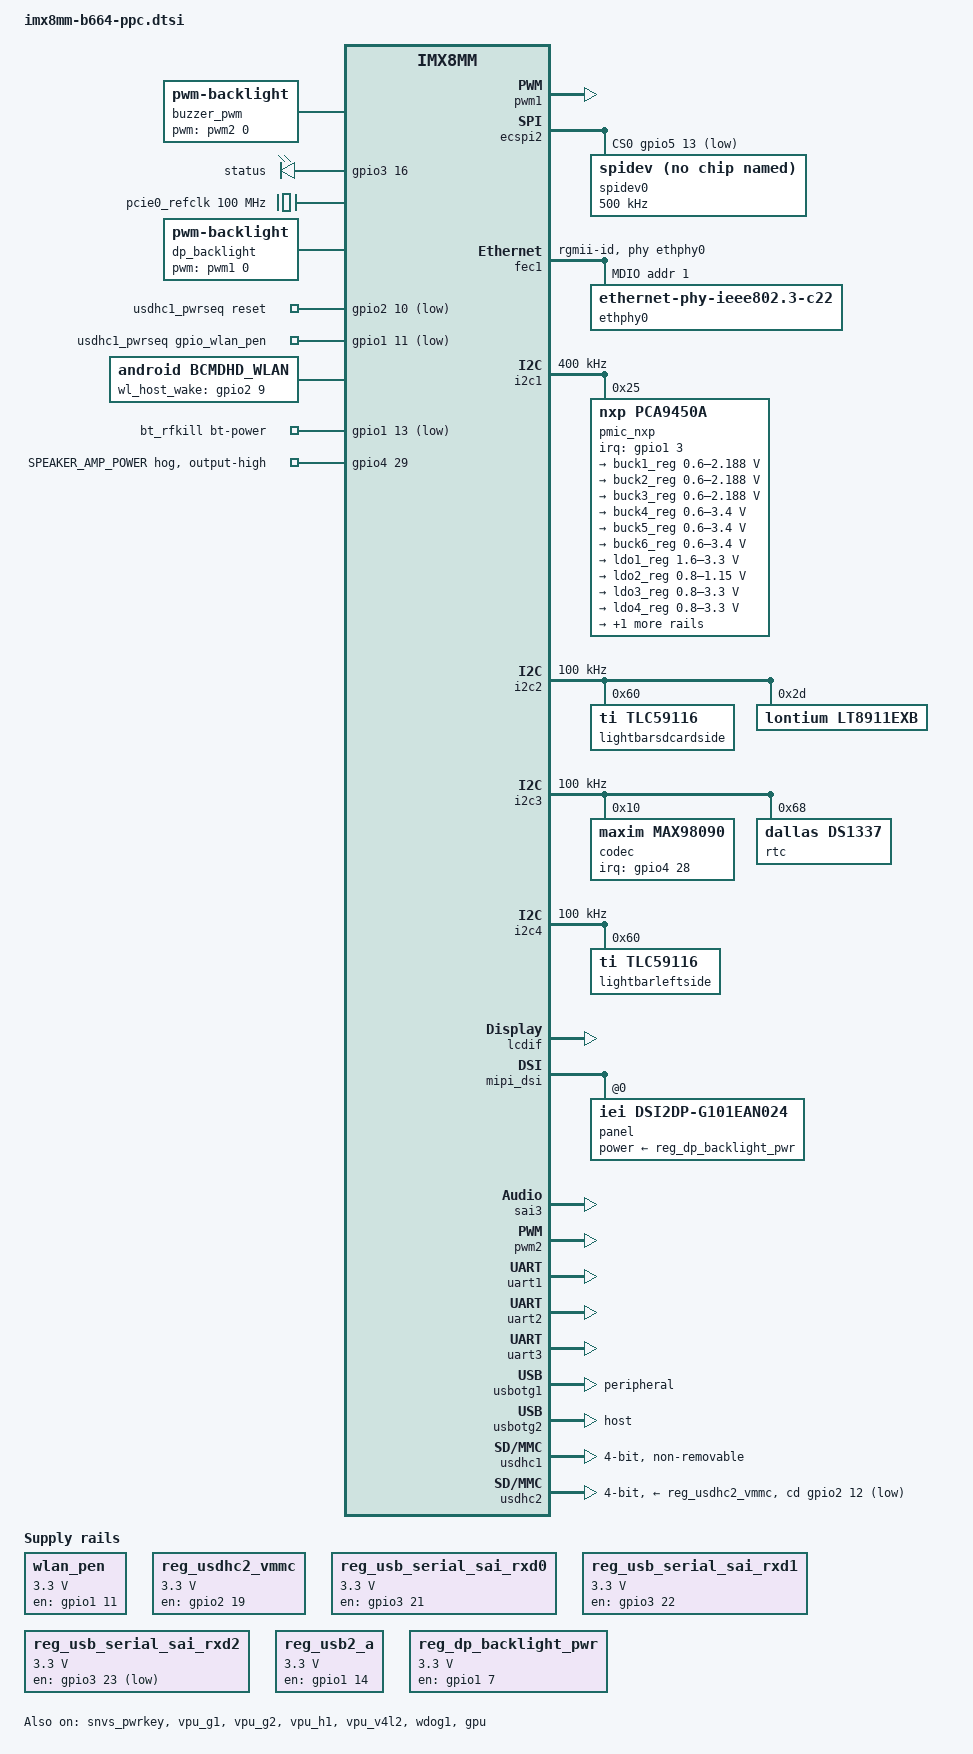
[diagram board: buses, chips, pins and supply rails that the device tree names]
// SPDX-License-Identifier: (GPL-2.0+ OR MIT)
/*
 * Copyright 2020 NXP
 */

/dts-v1/;

#include <dt-bindings/usb/pd.h>
#include "imx8mm.dtsi"

/ {
	buzzer_pwm: buzzer_pwm {
		compatible = "pwm-backlight";
		pwms = <&pwm2 0 100000>;
		status = "okay";

		brightness-levels = < 0  1  2  3  4  5  6  7  8  9
			10 11 12 13 14 15 16 17 18 19
			20 21 22 23 24 25 26 27 28 29
			30 31 32 33 34 35 36 37 38 39
			40 41 42 43 44 45 46 47 48 49
			50 51 52 53 54 55 56 57 58 59
			60 61 62 63 64 65 66 67 68 69
			70 71 72 73 74 75 76 77 78 79
			80 81 82 83 84 85 86 87 88 89
			90 91 92 93 94 95 96 97 98 99
		100>;
		default-brightness-level = <0>;
	};

	chosen {
		stdout-path = &uart2;
	};

	leds {
		compatible = "gpio-leds";
		pinctrl-names = "default";
		pinctrl-0 = <&pinctrl_gpio_led>;

		status {
			label = "status";
			gpios = <&gpio3 16 GPIO_ACTIVE_HIGH>;
			default-state = "on";
		};
	};

	pcie0_refclk: pcie0-refclk {
		compatible = "fixed-clock";
		#clock-cells = <0>;
		clock-frequency = <100000000>;
	};

	wlan_pen: wlan_pen {
		compatible = "regulator-fixed";
		pinctrl-names = "default";
		pinctrl-0 = <&pinctrl_wlan_pen>;
		regulator-name = "WLAN_PEN";
		regulator-min-microvolt = <3300000>;
		regulator-max-microvolt = <3300000>;
		gpio = <&gpio1 11 GPIO_ACTIVE_LOW>;
		off-on-delay = <20000>;
		startup-delay-us = <100>;
		enable-active-high;
	};

	reg_usdhc2_vmmc: regulator-usdhc2 {
		compatible = "regulator-fixed";
		pinctrl-names = "default";
		pinctrl-0 = <&pinctrl_reg_usdhc2_vmmc>;
		regulator-name = "VSD_3V3";
		regulator-min-microvolt = <3300000>;
		regulator-max-microvolt = <3300000>;
		gpio = <&gpio2 19 GPIO_ACTIVE_HIGH>;
		enable-active-high;
	};

	reg_usb_serial_sai_rxd0: usb_serial_sai_rxd0 {
		compatible = "regulator-fixed";
		pinctrl-names = "default";
		pinctrl-0 = <&pinctrl_usb_serial_sai_rxd0>;
		regulator-name = "VSD_3V3";
		regulator-min-microvolt = <3300000>;
		regulator-max-microvolt = <3300000>;
		gpio = <&gpio3 21 GPIO_ACTIVE_HIGH>;
		enable-active-high;
	};

	reg_usb_serial_sai_rxd1: usb_serial_sai_rxd1 {
		compatible = "regulator-fixed";
		pinctrl-names = "default";
		pinctrl-0 = <&pinctrl_usb_serial_sai_rxd1>;
		regulator-name = "VSD_3V3";
		regulator-min-microvolt = <3300000>;
		regulator-max-microvolt = <3300000>;
		gpio = <&gpio3 22 GPIO_ACTIVE_HIGH>;
		enable-active-high;
	};

	reg_usb_serial_sai_rxd2: usb_serial_sai_rxd2 {
		compatible = "regulator-fixed";
		pinctrl-names = "default";
		pinctrl-0 = <&pinctrl_usb_serial_sai_rxd2>;
		regulator-name = "VSD_3V3";
		regulator-min-microvolt = <3300000>;
		regulator-max-microvolt = <3300000>;
		gpio = <&gpio3 23 GPIO_ACTIVE_HIGH>;
		
	};

       reg_usb2_a: regulator_usb2_a {
		compatible = "regulator-fixed";
		pinctrl-names = "default";
		pinctrl-0 = <&pinctrl_usb2_a>;
		regulator-name = "USB2_A";
		regulator-min-microvolt = <3300000>;
		regulator-max-microvolt = <3300000>;
		gpio = <&gpio1 14 GPIO_ACTIVE_HIGH>;
		//off-on-delay-us = <20000>;
		enable-active-high;
	};

	reg_dp_backlight_pwr: regulator_dpblpwr {
		pinctrl-names = "default";
		pinctrl-0 = <&pinctrl_dp_backlight_pwr>;
		compatible = "regulator-fixed";
		regulator-name = "dp_bl_en";
		regulator-min-microvolt = <3300000>;
		regulator-max-microvolt = <3300000>;
		gpio = <&gpio1 7 GPIO_ACTIVE_HIGH>;
		enable-active-high;
		regulator-always-on;
	};

	dp_backlight: dp_backlight {
		compatible = "pwm-backlight";
		pwms = <&pwm1 0 100000>;
		status = "okay";

		brightness-levels = < 0  1  2  3  4  5  6  7  8  9
			10 11 12 13 14 15 16 17 18 19
			20 21 22 23 24 25 26 27 28 29
			30 31 32 33 34 35 36 37 38 39
			40 41 42 43 44 45 46 47 48 49
			50 51 52 53 54 55 56 57 58 59
			60 61 62 63 64 65 66 67 68 69
			70 71 72 73 74 75 76 77 78 79
			80 81 82 83 84 85 86 87 88 89
			90 91 92 93 94 95 96 97 98 99
		100>;
		default-brightness-level = <80>;
	};


	usdhc1_pwrseq: usdhc1_pwrseq {
		compatible = "mmc-pwrseq-simple";
		reset-gpios = <&gpio2 10 GPIO_ACTIVE_LOW>;
		gpio_wlan_pen = <&gpio1 11 GPIO_ACTIVE_LOW>;
		status = "okay";
	};

	bcmdhd: bcmdhd {
		status = "okay";
		compatible = "android,bcmdhd_wlan";
		gpio_wl_host_wake = <&gpio2 9 GPIO_ACTIVE_HIGH>;
		pinctrl-names = "default";
		pinctrl-0 = <&pinctrl_wlan_irq>;
	};

	sound-max98090 {
		compatible = "fsl,imx-audio-max98090";
		model = "max98090-audio";
		audio-cpu = <&sai3>;
		audio-codec = <&codec>;
		audio-routing =
			"Headphone Jack", "HPL",
			"Headphone Jack", "HPR",
			"Ext Spk", "SPKL",
			"Ext Spk", "SPKR",
			"AMIC", "MICBIAS",
			"IN5", "AMIC";

		status = "okay";
	};

	bt_rfkill {
		compatible = "fsl,mxc_bt_rfkill";
		pinctrl-0 = <&pinctrl_uart1_btctrl>;
		bt-power-gpios = <&gpio1 13 GPIO_ACTIVE_LOW>;
		reset-delay-us = <100>;
		reset-post-delay-ms = <150>;
		status ="okay";
	};
};

&A53_0 {
	cpu-supply = <&buck2_reg>;
};

&A53_1 {
	cpu-supply = <&buck2_reg>;
};

&A53_2 {
	cpu-supply = <&buck2_reg>;
};

&A53_3 {
	cpu-supply = <&buck2_reg>;
};

&pwm1 {
	pinctrl-names = "default";
	pinctrl-0 = <&pinctrl_pwm1_dp>;
	status = "okay";
};

&ecspi2 {
	#address-cells = <1>;
	#size-cells = <0>;
	fsl,spi-num-chipselects = <1>;
	pinctrl-names = "default";
	pinctrl-0 = <&pinctrl_ecspi2 &pinctrl_ecspi2_cs>;
	cs-gpios = <&gpio5 13 GPIO_ACTIVE_LOW>;
	status = "okay";

	spidev0: spi@0 {
		reg = <0>;
		compatible = "rohm,dh2228fv";
		spi-max-frequency = <500000>;
	};
};

&fec1 {
	pinctrl-names = "default";
	pinctrl-0 = <&pinctrl_fec1>;
	phy-mode = "rgmii-id";
	phy-handle = <&ethphy0>;
	fsl,magic-packet;
	status = "okay";

	mdio {
		#address-cells = <1>;
		#size-cells = <0>;

		ethphy0: ethernet-phy@1 {
			compatible = "ethernet-phy-ieee802.3-c22";
			reg = <1>;
		};
	};
};

&i2c1 {
	clock-frequency = <400000>;
	pinctrl-names = "default";
	pinctrl-0 = <&pinctrl_i2c1>;
	status = "okay";

	pmic_nxp: pca9450@25 {
		compatible = "nxp,pca9450a";
		reg = <0x25>;
		pinctrl-0 = <&pinctrl_pmic>;
		pinctrl-names = "default";
		interrupt-parent = <&gpio1>;
		interrupts = <3 IRQ_TYPE_LEVEL_LOW>;

		regulators {
			buck1_reg: BUCK1 {
				regulator-name = "BUCK1";
				regulator-min-microvolt = <600000>;
				regulator-max-microvolt = <2187500>;
				regulator-boot-on;
				regulator-always-on;
				regulator-ramp-delay = <3125>;
				nxp,dvs-run-voltage = <850000>;
				nxp,dvs-standby-voltage = <800000>;
			};

			buck2_reg: BUCK2 {
				regulator-name = "BUCK2";
				regulator-min-microvolt = <600000>;
				regulator-max-microvolt = <2187500>;
				regulator-boot-on;
				regulator-always-on;
				regulator-ramp-delay = <3125>;
			};

			buck3_reg: BUCK3 {
				regulator-name = "BUCK3";
				regulator-min-microvolt = <600000>;
				regulator-max-microvolt = <2187500>;
				regulator-boot-on;
				regulator-always-on;
			};

			buck4_reg: BUCK4 {
				regulator-name = "BUCK4";
				regulator-min-microvolt = <600000>;
				regulator-max-microvolt = <3400000>;
				regulator-boot-on;
				regulator-always-on;
			};

			buck5_reg: BUCK5 {
				regulator-name = "BUCK5";
				regulator-min-microvolt = <600000>;
				regulator-max-microvolt = <3400000>;
				regulator-boot-on;
				regulator-always-on;
			};

			buck6_reg: BUCK6 {
				regulator-name = "BUCK6";
				regulator-min-microvolt = <600000>;
				regulator-max-microvolt = <3400000>;
				regulator-boot-on;
				regulator-always-on;
			};

			ldo1_reg: LDO1 {
				regulator-name = "LDO1";
				regulator-min-microvolt = <1600000>;
				regulator-max-microvolt = <3300000>;
				regulator-boot-on;
				regulator-always-on;
			};

			ldo2_reg: LDO2 {
				regulator-name = "LDO2";
				regulator-min-microvolt = <800000>;
				regulator-max-microvolt = <1150000>;
				regulator-boot-on;
				regulator-always-on;
			};

			ldo3_reg: LDO3 {
				regulator-name = "LDO3";
				regulator-min-microvolt = <800000>;
				regulator-max-microvolt = <3300000>;
				regulator-boot-on;
				regulator-always-on;
			};

			ldo4_reg: LDO4 {
				regulator-name = "LDO4";
				regulator-min-microvolt = <800000>;
				regulator-max-microvolt = <3300000>;
				regulator-boot-on;
				regulator-always-on;
			};

			ldo5_reg: LDO5 {
				regulator-name = "LDO5";
				regulator-min-microvolt = <1800000>;
				regulator-max-microvolt = <3300000>;
			};
		};
	};
};

&gpio4 {
	pinctrl-0 = <&pinctrl_gpio4>;

	speaker_amplifier {
		gpio-hog;
		gpios = <29 GPIO_ACTIVE_HIGH>;
		line-name = "SPEAKER_AMP_POWER";
		output-high;
	};
};

&i2c2 {
	clock-frequency = <100000>;
	pinctrl-names = "default";
	pinctrl-0 = <&pinctrl_i2c2>;
	status = "okay";

	lightbarsdcardside: tlc59116_left@60 {
		#address-cells = <1>;
		#size-cells = <0>;
		compatible = "ti,tlc59116";
		reg = <0x60>;
		status = "okay";
		out0@0 {
			label = "i2c2_led_red_00";
			reg = <0x0>;
		};

		out1@1 {
			label = "i2c2_led_green_00";
			reg = <0x1>;
		};
	
		out2@2 {
			label = "i2c2_led_blue_00";
			reg = <0x2>;
		};

		out3@3 {
			label = "i2c2_led_red_01";
			reg = <0x3>;
		};

		out4@4{
			label = "i2c2_led_green_01";
			reg = <0x4>;
		};

		out5@5 {
			label = "i2c2_led_blue_01";
			reg = <0x5>;
		};

		out6@6 {
			label = "i2c2_led_red_02";
			reg = <0x6>;
		};

		out7@7 {
			label = "i2c2_led_green_02";
			reg = <0x7>;
		};

	       out8@8 {
			label = "i2c2_led_blue_02";
			reg = <0x8>;
		};

		out9@9 {
			label = "i2c2_led_red_03";
			reg = <0x9>;
		};

		out10@a {
			label = "i2c2_led_green_03";
			reg = <0xa>;
		};

		out11@b {
			label = "i2c2_led_blue_03";
			reg = <0xb>;
		};

		out12@c {
			label = "i2c2_led_red_04";
			reg = <0xc>;
		};

		out13@d {
			label = "i2c2_led_green_04";
			reg = <0xd>;
		};

		out14@e {
			label = "i2c2_led_blue_04";
			reg = <0xe>;
		};
	};

	lt8911exb@2d {
		compatible = "lontium,lt8911exb";
		reg = <0x2d>;

		lontium,pclk = <75000000>;
		lontium,hact = <1280>;
		lontium,vact = <800>;
		lontium,hbp = <40>;
		lontium,hfp = <40>;
		lontium,vbp = <10>;
		lontium,vfp = <3>;
		lontium,hs = <80>;
		lontium,vs = <10>;

		lontium,mipi_lane = <4>;
		lontium,lane_cnt = <1>;
		lontium,color = <1>; //Color Depth 0:6bit 1:8bit
		lontium,test = <0>;

		status = "okay";
	};

	
};

&i2c3 {
	clock-frequency = <100000>;
	pinctrl-names = "default";
	pinctrl-0 = <&pinctrl_i2c3>;
	status = "okay";

	codec: max98090@10 {
		status = "okay";
		compatible = "maxim,max98090";
		reg = <0x10>;
                clocks = <&clk IMX8MM_CLK_SAI3_ROOT>;
                clock-names = "xclk";
		/* 1 = low-to-high edge triggered,  2 = high-to-low edge triggered
		   4 = active high level-sensitive, 8 = active low level-sensitive */
		interrupt-parent = <&gpio4>;
		interrupts = <28 IRQ_TYPE_LEVEL_LOW>;
		maxim,dmic-freq = <3072000>;
	};

	rtc: rtc@68 {
		compatible = "dallas,ds1337";
		reg = <0x68>;
	};
};

&i2c4 {
	clock-frequency = <100000>;
	pinctrl-names = "default";
	pinctrl-0 = <&pinctrl_i2c4>;
	status = "okay";

	lightbarleftside: tlc59116@60 {
		#address-cells = <1>;
		#size-cells = <0>;
		compatible = "ti,tlc59116";
		reg = <0x60>;
		status = "okay";
		out0@0 {
			label = "i2c4_led_red_00";
			reg = <0x0>;
		};

		out1@1 {
			label = "i2c4_led_green_00";
			reg = <0x1>;
		};
	
		out2@2 {
			label = "i2c4_led_blue_00";
			reg = <0x2>;
		};

		out3@3 {
			label = "i2c4_led_red_01";
			reg = <0x3>;
		};

		out4@4{
			label = "i2c4_led_green_01";
			reg = <0x4>;
		};

		out5@5 {
			label = "i2c4_led_blue_01";
			reg = <0x5>;
		};

		out6@6 {
			label = "i2c4_led_red_02";
			reg = <0x6>;
		};

		out7@7 {
			label = "i2c4_led_green_02";
			reg = <0x7>;
		};

	       out8@8 {
			label = "i2c4_led_blue_02";
			reg = <0x8>;
		};

		out9@9 {
			label = "i2c4_led_red_03";
			reg = <0x9>;
		};

		out10@a {
			label = "i2c4_led_green_03";
			reg = <0xa>;
		};

		out11@b {
			label = "i2c4_led_blue_03";
			reg = <0xb>;
		};

		out12@c {
			label = "i2c4_led_red_04";
			reg = <0xc>;
		};

		out13@d {
			label = "i2c4_led_green_04";
			reg = <0xd>;
		};

		out14@e {
			label = "i2c4_led_blue_04";
			reg = <0xe>;
		};
	};
};

&lcdif {
	status = "okay";
};

&mipi_dsi {
	status = "okay";
	#address-cells = <1>;
	#size-cells = <0>;

	panel@0 {
		reg = <0>;
		compatible = "iei,dsi2dp-g101ean024";
		power-supply = <&reg_dp_backlight_pwr>;

		dsi,flags = <0x0007>;
		dsi,format = <0>;
		dsi,lanes = <4>;
		panel-width-mm  = <217>;
		panel-height-mm = <135>;
		bus-format = <0x100a>;  /* MEDIA_BUS_FMT_RGB888_1X24 */
		bus-flags = <1>;
		refresh-rate = <60>;
		rotate = <0>;

		panel-timing {
			clock-frequency = <77000000>;
			hactive = <1280>;
			vactive = <800>;
			hfront-porch = <40>;
			hsync-len = <80>;
			hback-porch = <40>;
			vfront-porch = <3>;
			vsync-len = <10>;
			vback-porch = <10>;
			/* flags = DISPLAY_FLAGS_HSYNC_HIGH | DISPLAY_FLAGS_VSYNC_HIGH */
			vsync-active = <1>;
			hsync-active = <1>;
		};
	};
};

&pcie0{
	status = "disabled";
};

&pcie0_ep{
	status = "disabled";
};

&sai3 {
        pinctrl-names = "default";
        pinctrl-0 = <&pinctrl_sai3>;
        assigned-clocks = <&clk IMX8MM_CLK_SAI3>;
        assigned-clock-parents = <&clk IMX8MM_AUDIO_PLL1_OUT>;
        assigned-clock-rates = <12288000>;
        fsl,sai-mclk-direction-output;
        status = "okay";
};

&snvs_pwrkey {
	status = "okay";
};



&pwm2 {
	pinctrl-names = "default";
	pinctrl-0 = <&pinctrl_pwm_buzzer>;
	status = "okay";
};

&uart1 { /* BT */
	pinctrl-names = "default";
	pinctrl-0 = <&pinctrl_uart1>;
	assigned-clocks = <&clk IMX8MM_CLK_UART1>;
	assigned-clock-parents = <&clk IMX8MM_SYS_PLL1_80M>;
	fsl,uart-has-rtscts;
	status = "okay";
};

&uart2 { /* console */
	pinctrl-names = "default";
	pinctrl-0 = <&pinctrl_uart2>;
	status = "okay";
};

&uart3 {
	pinctrl-names = "default";
	pinctrl-0 = <&pinctrl_uart3>;
	assigned-clocks = <&clk IMX8MM_CLK_UART3>;
	assigned-clock-parents = <&clk IMX8MM_SYS_PLL1_80M>;
	fsl,uart-has-rtscts;
	status = "okay";
};

&usbotg1 {
	dr_mode = "peripheral";
	status = "okay";
};
/* USB Host port */
&usbotg2{
	dr_mode = "host";
	over-current-active-low;
	pinctrl-names = "default";
	pinctrl-0 = <&pinctrl_usb2_b>;
	power-active-high;
	/*
	 * FIXME: having USB2 enabled hangs the boot just after:
	 *[    1.655941] ci_hdrc ci_hdrc.1: EHCI Host Controller
	 *[    1.660880] ci_hdrc ci_hdrc.1: new USB bus registered, assigned bus number 2
	 *[    1.681505] ci_hdrc ci_hdrc.1: USB 2.0 started, EHCI 1.00
	 *[    1.687730] hub 2-0:1.0: USB hub found
	 *[    1.691528] hub 2-0:1.0: 1 port detected
	 */
	status = "okay";
};

&usdhc1 {
	assigned-clocks = <&clk IMX8MM_CLK_USDHC1>;
	assigned-clock-rates = <400000000>;
	pinctrl-names = "default", "state_100mhz", "state_200mhz";
	pinctrl-0 = <&pinctrl_usdhc1>, <&pinctrl_usdhc1_gpio>;
	pinctrl-1 = <&pinctrl_usdhc1_100mhz>, <&pinctrl_usdhc1_gpio>;
	pinctrl-2 = <&pinctrl_usdhc1_200mhz>, <&pinctrl_usdhc1_gpio>;
	bus-width = <4>;
	keep-power-in-suspend;
	non-removable;
	no-1-8-v;
	mmc-pwrseq = <&usdhc1_pwrseq>;
	status = "okay";
};

&usdhc2 {
	assigned-clocks = <&clk IMX8MM_CLK_USDHC2>;
	assigned-clock-rates = <400000000>;
	pinctrl-names = "default", "state_100mhz", "state_200mhz";
	pinctrl-0 = <&pinctrl_usdhc2>, <&pinctrl_usdhc2_gpio>;
	pinctrl-1 = <&pinctrl_usdhc2_100mhz>, <&pinctrl_usdhc2_gpio>;
	pinctrl-2 = <&pinctrl_usdhc2_200mhz>, <&pinctrl_usdhc2_gpio>;
	cd-gpios = <&gpio2 12 GPIO_ACTIVE_LOW>;
	vmmc-supply = <&reg_usdhc2_vmmc>;
	bus-width = <4>;
	status = "okay";
};

&vpu_g1 {
	status = "okay";
};

&vpu_g2 {
	status = "okay";
};

&vpu_h1 {
	status = "okay";
};

&vpu_v4l2 {
	status = "okay";
};

&wdog1 {
	pinctrl-names = "default";
	pinctrl-0 = <&pinctrl_wdog>;
	fsl,ext-reset-output;
	status = "okay";
};

&gpu {
	status = "okay";
};

&iomuxc {
	pinctrl_usb_serial_sai_rxd0:usb_serial_sai_rxd0_grp{
		fsl,pins = <
			MX8MM_IOMUXC_SAI5_RXD0_GPIO3_IO21	0x19
		>;	
	};

	pinctrl_usb_serial_sai_rxd1:usb_serial_sai_rxd1_grp{
		fsl,pins = <
			MX8MM_IOMUXC_SAI5_RXD1_GPIO3_IO22	0x19
		>;	
	};

	pinctrl_usb_serial_sai_rxd2:usb_serial_sai_rxd2_grp{
		fsl,pins = <
			MX8MM_IOMUXC_SAI5_RXD2_GPIO3_IO23	0x19
		>;	
	};

	pinctrl_usb2_a:usb2_a_grp{
	       fsl,pins = <
			MX8MM_IOMUXC_GPIO1_IO06_GPIO1_IO6		0x140
		>;	
	};

	pinctrl_usb2_b:usb2_b_grp{
	       fsl,pins = <
			MX8MM_IOMUXC_GPIO1_IO14_USB2_OTG_PWR	0x16
			MX8MM_IOMUXC_GPIO1_IO15_USB2_OTG_OC	0x15
		>;	
	};

	pinctrl_csi_rst: csi_rst_grp {
		fsl,pins = <
			MX8MM_IOMUXC_GPIO1_IO06_GPIO1_IO6		0x19
			MX8MM_IOMUXC_GPIO1_IO14_CCMSRCGPCMIX_CLKO1	0x59
		>;
	};

	pinctrl_dp_backlight_pwr: dp_bl_pwrgrp  {
		fsl,pins = <
			MX8MM_IOMUXC_GPIO1_IO07_GPIO1_IO7		0x19 // backlight power
		>;
	};

	pinctrl_pwm1_dp: pwm1_dpgrp  {
		fsl,pins = <
			MX8MM_IOMUXC_GPIO1_IO01_PWM1_OUT		0x16 // backlight pwm
		>;
	};

	pinctrl_ecspi2: ecspi2grp {
		fsl,pins = <
			MX8MM_IOMUXC_ECSPI2_SCLK_ECSPI2_SCLK		0x82
			MX8MM_IOMUXC_ECSPI2_MOSI_ECSPI2_MOSI		0x82
			MX8MM_IOMUXC_ECSPI2_MISO_ECSPI2_MISO		0x82
		>;
	};

	pinctrl_ecspi2_cs: ecspi2cs {
		fsl,pins = <
			MX8MM_IOMUXC_ECSPI2_SS0_GPIO5_IO13		0x40000
		>;
	};

	pinctrl_fec1: fec1grp {
		fsl,pins = <
			MX8MM_IOMUXC_ENET_MDC_ENET1_MDC			0x3
			MX8MM_IOMUXC_ENET_MDIO_ENET1_MDIO		0x3
			MX8MM_IOMUXC_ENET_TD3_ENET1_RGMII_TD3		0x1f
			MX8MM_IOMUXC_ENET_TD2_ENET1_RGMII_TD2		0x1f
			MX8MM_IOMUXC_ENET_TD1_ENET1_RGMII_TD1		0x1f
			MX8MM_IOMUXC_ENET_TD0_ENET1_RGMII_TD0		0x1f
			MX8MM_IOMUXC_ENET_RD3_ENET1_RGMII_RD3		0x91
			MX8MM_IOMUXC_ENET_RD2_ENET1_RGMII_RD2		0x91
			MX8MM_IOMUXC_ENET_RD1_ENET1_RGMII_RD1		0x91
			MX8MM_IOMUXC_ENET_RD0_ENET1_RGMII_RD0		0x91
			MX8MM_IOMUXC_ENET_TXC_ENET1_RGMII_TXC		0x1f
			MX8MM_IOMUXC_ENET_RXC_ENET1_RGMII_RXC		0x91
			MX8MM_IOMUXC_ENET_RX_CTL_ENET1_RGMII_RX_CTL	0x91
			MX8MM_IOMUXC_ENET_TX_CTL_ENET1_RGMII_TX_CTL	0x1f
			MX8MM_IOMUXC_SAI2_RXC_GPIO4_IO22		0x19
		>;
	};

	pinctrl_gpio4: gpio4grp {
		fsl,pins = <
			MX8MM_IOMUXC_SAI3_RXC_GPIO4_IO29	0x19
		>;
	};

	pinctrl_gpio_led: gpioledgrp {
		fsl,pins = <
			MX8MM_IOMUXC_NAND_READY_B_GPIO3_IO16	0x19
		>;
	};

	pinctrl_gpio_wlf: gpiowlfgrp {
		fsl,pins = <
			MX8MM_IOMUXC_I2C4_SDA_GPIO5_IO21	0xd6
		>;
	};

	pinctrl_i2c1: i2c1grp {
		fsl,pins = <
			MX8MM_IOMUXC_I2C1_SCL_I2C1_SCL			0x400001c3
			MX8MM_IOMUXC_I2C1_SDA_I2C1_SDA			0x400001c3
		>;
	};

	pinctrl_i2c2: i2c2grp {
		fsl,pins = <
			MX8MM_IOMUXC_I2C2_SCL_I2C2_SCL			0x400001c3
			MX8MM_IOMUXC_I2C2_SDA_I2C2_SDA			0x400001c3
		>;
	};

	pinctrl_i2c2_synaptics_dsx_io: synaptics_dsx_iogrp {
		fsl,pins = <
			MX8MM_IOMUXC_GPIO1_IO09_GPIO1_IO9               0x19    /* Touch int */
		>;
	};

	pinctrl_i2c3: i2c3grp {
		fsl,pins = <
			MX8MM_IOMUXC_I2C3_SCL_I2C3_SCL			0x400001c3
			MX8MM_IOMUXC_I2C3_SDA_I2C3_SDA			0x400001c3
		>;
	};

	pinctrl_i2c4: i2c4grp {
		fsl,pins = <
			MX8MM_IOMUXC_I2C4_SCL_I2C4_SCL			0x400001c3
			MX8MM_IOMUXC_I2C4_SDA_I2C4_SDA			0x400001c3
		>;
	};

	pinctrl_pcie0: pcie0grp {
		fsl,pins = <
			MX8MM_IOMUXC_I2C4_SCL_PCIE1_CLKREQ_B	0x61 /* open drain, pull up */
			MX8MM_IOMUXC_GPIO1_IO05_GPIO1_IO5	0x41
			MX8MM_IOMUXC_SAI2_RXFS_GPIO4_IO21	0x41
		>;
	};

	pinctrl_pmic: pmicirqgrp {
		fsl,pins = <
			MX8MM_IOMUXC_GPIO1_IO03_GPIO1_IO3		0x141
		>;
	};

	pinctrl_reg_usdhc2_vmmc: regusdhc2vmmcgrp {
		fsl,pins = <
			MX8MM_IOMUXC_SD2_RESET_B_GPIO2_IO19	0x41
		>;
	};

	pinctrl_sai1: sai1grp {
		fsl,pins = <
			MX8MM_IOMUXC_SAI1_MCLK_SAI1_MCLK	0xd6
			MX8MM_IOMUXC_SAI1_TXFS_SAI1_TX_SYNC	0xd6
			MX8MM_IOMUXC_SAI1_RXD7_SAI1_TX_SYNC	0xd6
			MX8MM_IOMUXC_SAI1_TXC_SAI1_TX_BCLK	0xd6
			MX8MM_IOMUXC_SAI1_TXD0_SAI1_TX_DATA0	0xd6
			MX8MM_IOMUXC_SAI1_TXD1_SAI1_TX_DATA1	0xd6
			MX8MM_IOMUXC_SAI1_TXD2_SAI1_TX_DATA2	0xd6
			MX8MM_IOMUXC_SAI1_TXD3_SAI1_TX_DATA3	0xd6
			MX8MM_IOMUXC_SAI1_TXD4_SAI1_TX_DATA4	0xd6
			MX8MM_IOMUXC_SAI1_TXD5_SAI1_TX_DATA5	0xd6
			MX8MM_IOMUXC_SAI1_TXD6_SAI1_TX_DATA6	0xd6
			MX8MM_IOMUXC_SAI1_TXD7_SAI1_TX_DATA7	0xd6
		>;
	};

	pinctrl_sai1_dsd: sai1grp_dsd {
		fsl,pins = <
			MX8MM_IOMUXC_SAI1_MCLK_SAI1_MCLK	0xd6
			MX8MM_IOMUXC_SAI1_TXFS_SAI1_TX_SYNC	0xd6
			MX8MM_IOMUXC_SAI1_RXD7_SAI1_TX_DATA4	0xd6
			MX8MM_IOMUXC_SAI1_TXC_SAI1_TX_BCLK	0xd6
			MX8MM_IOMUXC_SAI1_TXD0_SAI1_TX_DATA0	0xd6
			MX8MM_IOMUXC_SAI1_TXD1_SAI1_TX_DATA1	0xd6
			MX8MM_IOMUXC_SAI1_TXD2_SAI1_TX_DATA2	0xd6
			MX8MM_IOMUXC_SAI1_TXD3_SAI1_TX_DATA3	0xd6
			MX8MM_IOMUXC_SAI1_TXD4_SAI1_TX_DATA4	0xd6
			MX8MM_IOMUXC_SAI1_TXD5_SAI1_TX_DATA5	0xd6
			MX8MM_IOMUXC_SAI1_TXD6_SAI1_TX_DATA6	0xd6
			MX8MM_IOMUXC_SAI1_TXD7_SAI1_TX_DATA7	0xd6
		>;
	};

	pinctrl_sai2: sai2grp {
		fsl,pins = <
			MX8MM_IOMUXC_SAI2_TXC_SAI2_TX_BCLK      0xd6
			MX8MM_IOMUXC_SAI2_TXFS_SAI2_TX_SYNC     0xd6
			MX8MM_IOMUXC_SAI2_TXD0_SAI2_TX_DATA0    0xd6
			MX8MM_IOMUXC_SAI2_RXD0_SAI2_RX_DATA0    0xd6
		>;
	};

	pinctrl_sai3: sai3grp {
		fsl,pins = <
			MX8MM_IOMUXC_SAI3_TXFS_SAI3_TX_SYNC     0xd6
			MX8MM_IOMUXC_SAI3_TXC_SAI3_TX_BCLK      0xd6
			MX8MM_IOMUXC_SAI3_MCLK_SAI3_MCLK        0xd6
			MX8MM_IOMUXC_SAI3_TXD_SAI3_TX_DATA0     0xd6
			MX8MM_IOMUXC_SAI3_RXD_SAI3_RX_DATA0     0xd6
			MX8MM_IOMUXC_SAI3_RXFS_GPIO4_IO28       0x141
		>;
	};

	pinctrl_pwm_buzzer: pwm_buzzer_grp {
		fsl,pins = <
			MX8MM_IOMUXC_SPDIF_RX_PWM2_OUT	0x16
		>;
	};

	pinctrl_typec1: typec1grp {
		fsl,pins = <
			MX8MM_IOMUXC_SD1_STROBE_GPIO2_IO11	0x159
		>;
	};

	pinctrl_uart1_btctrl: uart1btctrlgrp {
		fsl,pins = <
			MX8MM_IOMUXC_GPIO1_IO13_GPIO1_IO13      0x41 /* REG_ON */
			MX8MM_IOMUXC_SD1_DATA6_GPIO2_IO8        0x41 /* HOST_WAKE*/
			MX8MM_IOMUXC_GPIO1_IO15_GPIO1_IO15      0x41 /* WAKE */
		>;
	};

	pinctrl_gpio1: gpio1grp {
		fsl,pins = <
			MX8MM_IOMUXC_GPIO1_IO13_GPIO1_IO13      0x41 /* REG_ON */
		>;
	};

	pinctrl_uart1: uart1grp {
		fsl,pins = <
			MX8MM_IOMUXC_UART1_RXD_UART1_DCE_RX     0x140
			MX8MM_IOMUXC_UART1_TXD_UART1_DCE_TX     0x140
			MX8MM_IOMUXC_UART3_RXD_UART1_DCE_CTS_B  0x140
			MX8MM_IOMUXC_UART3_TXD_UART1_DCE_RTS_B  0x140
		>;
	};

	pinctrl_uart2: uart2grp {
		fsl,pins = <
			MX8MM_IOMUXC_UART2_RXD_UART2_DCE_RX	0x140
			MX8MM_IOMUXC_UART2_TXD_UART2_DCE_TX	0x140
		>;
	};

	pinctrl_uart3: uart3grp {
		fsl,pins = <
			MX8MM_IOMUXC_ECSPI1_SCLK_UART3_DCE_RX           0x140
			MX8MM_IOMUXC_ECSPI1_MOSI_UART3_DCE_TX           0x140
			MX8MM_IOMUXC_ECSPI1_SS0_UART3_DCE_RTS_B         0x140
			MX8MM_IOMUXC_ECSPI1_MISO_UART3_DCE_CTS_B        0x140
		>;
	};

	pinctrl_usdhc1: usdhc1grp {
		fsl,pins = <
			MX8MM_IOMUXC_SD1_CLK_USDHC1_CLK		0x190
			MX8MM_IOMUXC_SD1_CMD_USDHC1_CMD		0x1d0
			MX8MM_IOMUXC_SD1_DATA0_USDHC1_DATA0	0x1d0
			MX8MM_IOMUXC_SD1_DATA1_USDHC1_DATA1	0x1d0
			MX8MM_IOMUXC_SD1_DATA2_USDHC1_DATA2	0x1d0
			MX8MM_IOMUXC_SD1_DATA3_USDHC1_DATA3	0x1d0
		>;
	};

	pinctrl_usdhc1_100mhz: usdhc1grp100mhz {
		fsl,pins = <
			MX8MM_IOMUXC_SD1_CLK_USDHC1_CLK		0x194
			MX8MM_IOMUXC_SD1_CMD_USDHC1_CMD		0x1d4
			MX8MM_IOMUXC_SD1_DATA0_USDHC1_DATA0	0x1d4
			MX8MM_IOMUXC_SD1_DATA1_USDHC1_DATA1	0x1d4
			MX8MM_IOMUXC_SD1_DATA2_USDHC1_DATA2	0x1d4
			MX8MM_IOMUXC_SD1_DATA3_USDHC1_DATA3	0x1d4
		>;
	};

	pinctrl_usdhc1_200mhz: usdhc1grp200mhz {
		fsl,pins = <
			MX8MM_IOMUXC_SD1_CLK_USDHC1_CLK		0x196
			MX8MM_IOMUXC_SD1_CMD_USDHC1_CMD		0x1d6
			MX8MM_IOMUXC_SD1_DATA0_USDHC1_DATA0	0x1d6
			MX8MM_IOMUXC_SD1_DATA1_USDHC1_DATA1	0x1d6
			MX8MM_IOMUXC_SD1_DATA2_USDHC1_DATA2	0x1d6
			MX8MM_IOMUXC_SD1_DATA3_USDHC1_DATA3	0x1d6
		>;
	};

	pinctrl_usdhc1_gpio: usdhc1gpiogrp {
		fsl,pins = <
			MX8MM_IOMUXC_SD1_RESET_B_GPIO2_IO10	0x19
		>;
	};

	pinctrl_wlan_irq: wlanirqgrp {
		fsl,pins = <
			MX8MM_IOMUXC_SD1_DATA7_GPIO2_IO9	0x141
		>;
	};

	pinctrl_usdhc2: usdhc2grp {
		fsl,pins = <
			MX8MM_IOMUXC_SD2_CLK_USDHC2_CLK		0x190
			MX8MM_IOMUXC_SD2_CMD_USDHC2_CMD		0x1d0
			MX8MM_IOMUXC_SD2_DATA0_USDHC2_DATA0	0x1d0
			MX8MM_IOMUXC_SD2_DATA1_USDHC2_DATA1	0x1d0
			MX8MM_IOMUXC_SD2_DATA2_USDHC2_DATA2	0x1d0
			MX8MM_IOMUXC_SD2_DATA3_USDHC2_DATA3	0x1d0
			MX8MM_IOMUXC_GPIO1_IO04_USDHC2_VSELECT	0xc1
		>;
	};

	pinctrl_usdhc2_100mhz: usdhc2-100mhzgrp {
		fsl,pins = <
			MX8MM_IOMUXC_SD2_CLK_USDHC2_CLK	       0x194
			MX8MM_IOMUXC_SD2_CMD_USDHC2_CMD	       0x1d4
			MX8MM_IOMUXC_SD2_DATA0_USDHC2_DATA0	0x1d4
			MX8MM_IOMUXC_SD2_DATA1_USDHC2_DATA1	0x1d4
			MX8MM_IOMUXC_SD2_DATA2_USDHC2_DATA2	0x1d4
			MX8MM_IOMUXC_SD2_DATA3_USDHC2_DATA3	0x1d4
			MX8MM_IOMUXC_GPIO1_IO04_USDHC2_VSELECT    0xc1
		>;
	};

	pinctrl_usdhc2_200mhz: usdhc2-200mhzgrp {
		fsl,pins = <
			MX8MM_IOMUXC_SD2_CLK_USDHC2_CLK		0x196
			MX8MM_IOMUXC_SD2_CMD_USDHC2_CMD		0x1d6
			MX8MM_IOMUXC_SD2_DATA0_USDHC2_DATA0	0x1d6
			MX8MM_IOMUXC_SD2_DATA1_USDHC2_DATA1	0x1d6
			MX8MM_IOMUXC_SD2_DATA2_USDHC2_DATA2	0x1d6
			MX8MM_IOMUXC_SD2_DATA3_USDHC2_DATA3	0x1d6
			MX8MM_IOMUXC_GPIO1_IO04_USDHC2_VSELECT	0xc1
		>;
	};

	pinctrl_usdhc2_gpio: usdhc2grpgpiogrp {
		fsl,pins = <
			MX8MM_IOMUXC_SD2_CD_B_GPIO2_IO12	0x1c4
		>;
	};


	pinctrl_wdog: wdoggrp {
		fsl,pins = <
			MX8MM_IOMUXC_GPIO1_IO02_WDOG1_WDOG_B	0xc6
		>;
	};

	pinctrl_wlan_pen: wlan_pen_ctrlgrp {
		fsl,pins = <
			MX8MM_IOMUXC_GPIO1_IO11_GPIO1_IO11	0x41 /* WLAN_PEN */
		>;
	};
};
